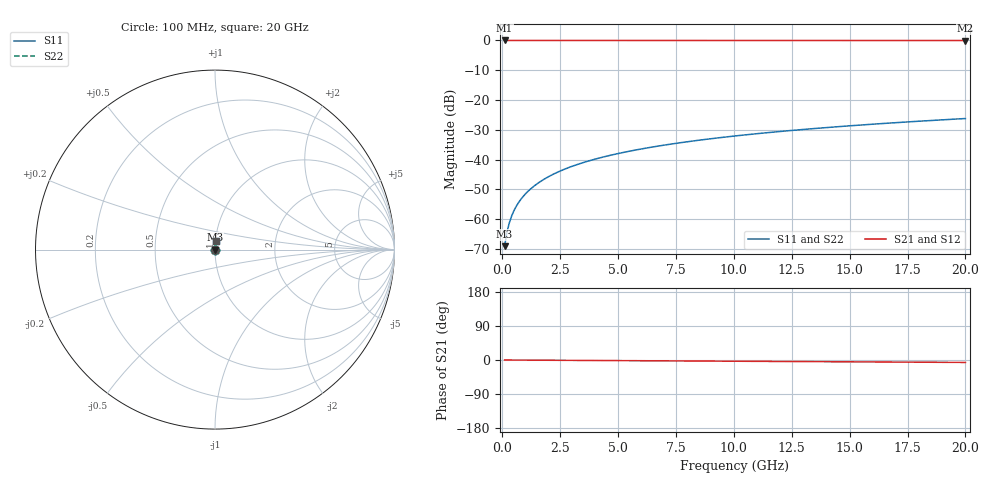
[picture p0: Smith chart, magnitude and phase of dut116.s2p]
! Touchstone file exported from HFSS 2026.1.0
!  File:  C:/ffzhzh/LocalFiles/Ansys_Project_Files/temp_train_TSV_116_1782989861_6248.aedt
!  Generated:  06:59:24 PM Jul  2, 2026
!  Design:  TSV
!  Project:  temp_train_TSV_116_1782989861_6248
! Variables:
!  h_bsmrdl = 2um
!  h_ox = 20um
!  h_rdl = 5um
!  h_sub = 52.18um
!  h_tmrdl = 5um
!  h_tsv = 52.18um
!  h_via = 3um
!  l_bsmrdl = 300um
!  l_sub = 411.5um
!  l_tmrdl = 200um
!  m_sub = 200um
!  pitch = 43.34um
!  r_tsv = 5.75um
!  s_tmrdl = 10um
!  w_bsmrdl = 18um
!  w_sub = 500um
!  w_tmrdl = 12um
!  x_tsv_center1 = 206um
!  x_tsv_center2 = 524um
!  x_tsv_center3 = 736um
!  x_tsv_center4 = 1054um
!  x_tsv_center5 = 1266um
!  x_tsv_center6 = 1584um
# GHz S MA R 50.000000
! Terminal data exported
! Port[1] = TSV1_1_T1
! Port[2] = TSV1_1_T2
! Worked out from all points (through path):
!   200 points, 100 MHz to 20 GHz, reference 50 ohm
!   highest |S21| = 0.00 dB at 100 MHz (marker M1); lowest = 0.0 dB at 20 GHz (marker M2)
!   lowest |S11| = -69.1 dB at 100 MHz (marker M3), VSWR 1.00, Z = 50 + j0.0278 ohm
!   |S11| at or under -10 dB: start of sweep to end of sweep
!   |S22| runs from -69.1 to -26.2 dB; largest |S21 - S12| = 3e-15
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0.1  0.0003522 52.1  0.9998 -0.0  0.9998 -0.0  0.0003522 52.1
! Gamma 0 0 0 0
! Port Impedance 50 0 50 0
0.2  0.0005974 67.8  0.9998 -0.1  0.9998 -0.1  0.0005974 67.8
0.3  0.0008583 73.8  0.9998 -0.1  0.9998 -0.1  0.0008583 73.8
0.4  0.00112 76.8  0.9997 -0.1  0.9997 -0.1  0.00112 76.8
0.5  0.00138 78.6  0.9997 -0.2  0.9997 -0.2  0.00138 78.6
0.6  0.001638 79.8  0.9997 -0.2  0.9997 -0.2  0.001638 79.8
0.7  0.001894 80.7  0.9997 -0.2  0.9997 -0.2  0.001894 80.7
0.8  0.002149 81.4  0.9997 -0.3  0.9997 -0.3  0.002149 81.4
1  0.002655 82.5  0.9997 -0.3  0.9997 -0.3  0.002655 82.5
1.4  0.003665 83.8  0.9996 -0.5  0.9996 -0.5  0.003665 83.8
1.7  0.004422 84.3  0.9996 -0.6  0.9996 -0.6  0.004422 84.3
2  0.005177 84.7  0.9996 -0.7  0.9996 -0.7  0.005177 84.7
2.7  0.006934 85.2  0.9995 -0.9  0.9995 -0.9  0.006934 85.2
3.5  0.008929 85.4  0.9994 -1.1  0.9994 -1.1  0.008929 85.4
4.2  0.01066 85.4  0.9993 -1.4  0.9993 -1.4  0.01066 85.4
5  0.01263 85.4  0.9993 -1.6  0.9993 -1.6  0.01263 85.4
6.8  0.01704 85.2  0.9991 -2.2  0.9991 -2.2  0.01704 85.2
8.3  0.02069 84.9  0.9989 -2.7  0.9989 -2.7  0.02069 84.9
10.1  0.02506 84.6  0.9987 -3.3  0.9987 -3.3  0.02506 84.6
13.4  0.03304 83.8  0.9984 -4.3  0.9984 -4.3  0.03304 83.8
16.7  0.04099 83.0  0.998 -5.4  0.998 -5.4  0.04099 83.0
20  0.0489 82.0  0.9975 -6.4  0.9975 -6.4  0.0489 82.0
